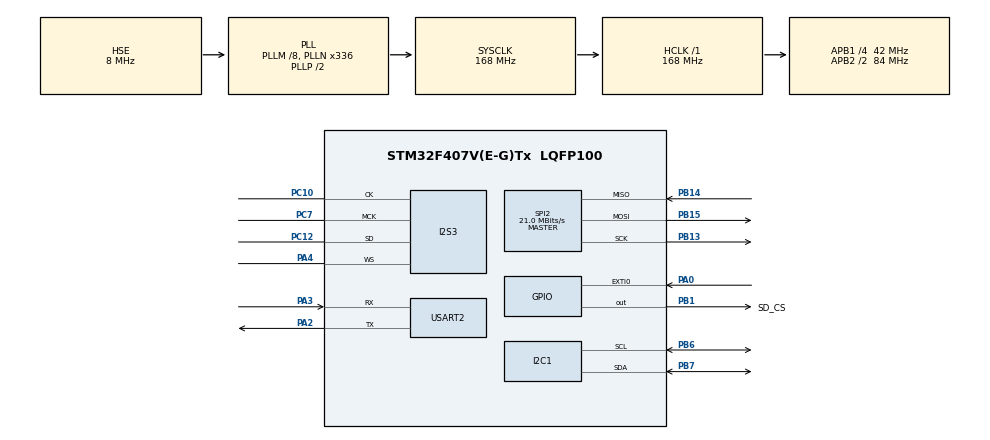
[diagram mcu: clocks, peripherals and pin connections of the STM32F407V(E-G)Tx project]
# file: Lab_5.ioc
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Dma.Request0=SPI3_TX
Dma.SPI3_TX.0.Direction=DMA_MEMORY_TO_PERIPH
Dma.SPI3_TX.0.FIFOMode=DMA_FIFOMODE_ENABLE
Dma.SPI3_TX.0.FIFOThreshold=DMA_FIFO_THRESHOLD_FULL
Dma.SPI3_TX.0.Instance=DMA1_Stream5
Dma.SPI3_TX.0.MemBurst=DMA_MBURST_SINGLE
Dma.SPI3_TX.0.MemDataAlignment=DMA_MDATAALIGN_HALFWORD
Dma.SPI3_TX.0.MemInc=DMA_MINC_ENABLE
Dma.SPI3_TX.0.Mode=DMA_CIRCULAR
Dma.SPI3_TX.0.PeriphBurst=DMA_PBURST_SINGLE
Dma.SPI3_TX.0.PeriphDataAlignment=DMA_PDATAALIGN_HALFWORD
Dma.SPI3_TX.0.PeriphInc=DMA_PINC_DISABLE
Dma.SPI3_TX.0.Priority=DMA_PRIORITY_LOW
I2S3.ErrorAudioFreq=-0.27 %
I2S3.FullDuplexMode=I2S_FULLDUPLEXMODE_DISABLE
I2S3.Instance=SPI$Index
I2S3.RealAudioFreq=7.978 KHz
I2S3.VirtualMode=I2S_MODE_MASTER
Mcu.Family=STM32F4
Mcu.Name=STM32F407V(E-G)Tx
Mcu.Package=LQFP100
NVIC.DMA1_Stream5_IRQn=true\:0\:0\:false\:false\:true\:false\:true\:true
NVIC.EXTI0_IRQn=true\:5\:0\:true\:false\:true\:true\:true\:true
NVIC.PriorityGroup=NVIC_PRIORITYGROUP_4
NVIC.TIM2_IRQn=true\:15\:0\:false\:false\:true\:false\:true\:true
NVIC.TimeBase=TIM2_IRQn
NVIC.TimeBaseIP=TIM2
PA0-WKUP.Signal=GPXTI0
PA2.Mode=Asynchronous
PA2.Signal=USART2_TX
PA3.Mode=Asynchronous
PA3.Signal=USART2_RX
PA4.Mode=Half_Duplex_Master
PA4.Signal=I2S3_WS
PB1.GPIO_Label=SD_CS
PB1.Signal=GPIO_Output
PB13.Mode=Full_Duplex_Master
PB13.Signal=SPI2_SCK
PB14.Mode=Full_Duplex_Master
PB14.Signal=SPI2_MISO
PB15.Mode=Full_Duplex_Master
PB15.Signal=SPI2_MOSI
PB6.Mode=I2C
PB6.Signal=I2C1_SCL
PB7.Mode=I2C
PB7.Signal=I2C1_SDA
PC10.Mode=Half_Duplex_Master
PC10.Signal=I2S3_CK
PC12.Mode=Half_Duplex_Master
PC12.Signal=I2S3_SD
PC7.Mode=Master_Clock_Activated
PC7.Signal=I2S3_MCK
PH0-OSC_IN.Mode=HSE-External-Oscillator
PH0-OSC_IN.Signal=RCC_OSC_IN
PH1-OSC_OUT.Mode=HSE-External-Oscillator
PH1-OSC_OUT.Signal=RCC_OSC_OUT
ProjectManager.HeapSize=0x200
ProjectManager.StackSize=0x400
ProjectManager.TargetToolchain=STM32CubeIDE
RCC.48MHZClocksFreq_Value=84000000
RCC.AHBFreq_Value=168000000
RCC.APB1CLKDivider=RCC_HCLK_DIV4
RCC.APB1Freq_Value=42000000
RCC.APB1TimFreq_Value=84000000
RCC.APB2CLKDivider=RCC_HCLK_DIV2
RCC.APB2Freq_Value=84000000
RCC.APB2TimFreq_Value=168000000
RCC.CortexFreq_Value=168000000
RCC.HCLKFreq_Value=168000000
RCC.HSE_VALUE=8000000
RCC.HSI_VALUE=16000000
RCC.LSE_VALUE=32768
RCC.PLLM=8
RCC.PLLN=336
RCC.PLLSourceVirtual=RCC_PLLSOURCE_HSE
RCC.SYSCLKFreq_VALUE=168000000
RCC.SYSCLKSource=RCC_SYSCLKSOURCE_PLLCLK
RCC.VCOOutputFreq_Value=336000000
SPI2.BaudRatePrescaler=SPI_BAUDRATEPRESCALER_2
SPI2.CalculateBaudRate=21.0 MBits/s
SPI2.Direction=SPI_DIRECTION_2LINES
SPI2.Mode=SPI_MODE_MASTER
SPI2.VirtualType=VM_MASTER
USART2.VirtualMode=VM_ASYNC
VP_FATFS_VS_Generic.Mode=User_defined
VP_SYS_VS_tim2.Mode=TIM2
board=custom

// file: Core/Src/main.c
/* USER CODE BEGIN Header */
/**
  ******************************************************************************
  * @file           : main.c
  * @brief          : Main program body
  ******************************************************************************
  * @attention
  *
  * Copyright (c) 2025 STMicroelectronics.
  * All rights reserved.
  *
  * This software is licensed under terms that can be found in the LICENSE file
  * in the root directory of this software component.
  * If no LICENSE file comes with this software, it is provided AS-IS.
  *
  ******************************************************************************
  */
/* USER CODE END Header */
#include "main.h"
#include "fatfs.h"

/* USER CODE BEGIN Includes */
#include "FreeRTOS.h"
#include "task.h"
#include "myprintf.h"
#include "string.h"
#include "waveplayer.h"
#include "File_Handling.h"
#include "semphr.h"
#include "queue.h"
#include "stdarg.h"
/* USER CODE END Includes */

/* USER CODE BEGIN PTD */
typedef enum {
	PLAYBACK_CONTROL,
	TRACK_SWITCHING,
	VOLUME_ADJUST
} SystemState;

typedef enum {
	NO_PRESS,
	SINGLE_PRESS,
	LONG_PRESS,
	DOUBLE_PRESS
} eButtonEvent;

typedef struct {
	char message[128];
} LogMessage;
/* USER CODE END PTD */

/* USER CODE BEGIN PD */
#define AUDIO_EXIT_NOTIFY	(1UL << 0)
#define AUDIO_EXITED_NOTIFY (1UL << 1)
/* USER CODE END PD */

I2C_HandleTypeDef hi2c1;

I2S_HandleTypeDef hi2s3;
DMA_HandleTypeDef hdma_spi3_tx;

SPI_HandleTypeDef hspi2;

UART_HandleTypeDef huart2;

/* USER CODE BEGIN PV */
extern AUDIO_PLAYBACK_StateTypeDef AudioState;
TaskHandle_t buttonTaskHandle;
bool initialized  = false;
SystemState currentState = PLAYBACK_CONTROL;
bool single_press = false;
SemaphoreHandle_t fatfsMutex;
QueueHandle_t logQueue;
/* USER CODE END PV */

void SystemClock_Config(void);
static void MX_GPIO_Init(void);
static void MX_DMA_Init(void);
static void MX_SPI2_Init(void);
static void MX_USART2_UART_Init(void);
static void MX_I2C1_Init(void);
static void MX_I2S3_Init(void);

/* USER CODE BEGIN 0 */
void LogOperation(const char *format, ...){
	LogMessage msg;
	va_list args;
	va_start(args, format);
	vsnprintf(msg.message, sizeof(msg.message), format, args);
	va_end(args);
	if (xQueueSend(logQueue, &msg, pdMS_TO_TICKS(100)) != pdPASS){
		myprintf("Failed to send log message!\r\n");
	}
}

void PrintLogFile(void) {
	FIL logFile;
	FRESULT fr;
	UINT br;
	char buffer[128];
	xSemaphoreTake(fatfsMutex, portMAX_DELAY);
	//Write your code here to open the log.txt file for read.
	fr = f_open(&logFile, "log.txt", FA_READ);

	if (fr != FR_OK) {
		myprintf("Failed to open log.txt (Error: %d)\r\n", fr);
		xSemaphoreGive(fatfsMutex);
		return;
	}
	myprintf("Log file contents:\r\n");
	do {
		//Write your code here to read the log.txt file.
		fr = f_read(&logFile, buffer, sizeof(buffer) - 1, &br);

		if (fr != FR_OK) {
			myprintf("Error reading log.txt (Error: %d)\r\n", fr);
			break;
		}
		buffer[br] = '\0';
		myprintf("%s", buffer);
	} while (br == sizeof(buffer) - 1);
	//Write your code here to close the log.txt file.
	f_close(&logFile);

	xSemaphoreGive(fatfsMutex);
}
void LogTask(void *pvParameters) {
	FIL logFile;
	FRESULT fr;
	UINT bw;
	LogMessage logMsg;
	bool fileOpened = false;

	xSemaphoreTake(fatfsMutex, portMAX_DELAY);
	//Write your code here to open and clear the log.txt file. If the file is not exists, create a new one.
	fr = f_open(&logFile, "log.txt", FA_CREATE_ALWAYS);

	if (fr == FR_OK) {
		//Write your code here to close the log.txt file.
		f_close(&logFile);

		myprintf("Log file cleared.\r\n");
	} else {
		myprintf("Failed to clear log file, error = %d\r\n", fr);
	}
	xSemaphoreGive(fatfsMutex);

	for(;;){
		if (xQueueReceive(logQueue, &logMsg, portMAX_DELAY) == pdPASS) {
			xSemaphoreTake(fatfsMutex, portMAX_DELAY);
			if(!fileOpened) {
				//Write your code here to open the log.txt file for write.
				fr = f_open(&logFile, "log.txt", FA_OPEN_APPEND | FA_WRITE);

				if (fr != FR_OK){
					myprintf("LogTask: Failed to open log.txt, error = %d\r\n", fr);
					xSemaphoreGive(fatfsMutex);
					continue;
				}
				fileOpened = true;
			}

			//Write your code here to write to the log.txt file.
			fr = f_write(&logFile, logMsg.message, strlen(logMsg.message), &bw);

			if (fr == FR_OK){
				f_sync(&logFile);
				myprintf("LogTask: Wrote log entry.\r\n");

				//Write your code here to close the log.txt file.
				f_close(&logFile);

				fileOpened = false;
				xSemaphoreGive(fatfsMutex);
				PrintLogFile();
			} else {
				myprintf("LogTask: f_write error: %d\r\n", fr);
				xSemaphoreGive(fatfsMutex);
			}
		}
	}
}

bool buttonState() {
   static const uint32_t DEBOUNCE_MILLIS = 50;
   static bool buttonstate = false;
   static uint32_t buttonstate_ts = 0;

   uint32_t now = HAL_GetTick();

   if (!initialized) {
       buttonstate = HAL_GPIO_ReadPin(GPIOA, GPIO_PIN_0) == GPIO_PIN_SET;
       buttonstate_ts = now;
       initialized = true;
   }

   if (now - buttonstate_ts > DEBOUNCE_MILLIS) {
       bool current_state = (HAL_GPIO_ReadPin(GPIOA, GPIO_PIN_0) == GPIO_PIN_SET);
       if (buttonstate != current_state) {
           buttonstate = current_state;
           buttonstate_ts = now;
       }
   }
   return buttonstate;
}

eButtonEvent getButtonEvent()
{
   static const uint32_t DOUBLE_GAP_MILLIS_MAX = 250;
   static const uint32_t LONG_MILLIS_MIN = 800;

   static uint32_t button_down_ts = 0;
   static uint32_t button_up_ts = 0;
   static bool double_pending = false;
   static bool long_press_pending = false;
   static bool button_down = false;
   static bool long_press_fired = false;

   static eButtonEvent pending_event = NO_PRESS;
   uint32_t now = HAL_GetTick();
   bool curDown = buttonState();

   /*write your code here*/
   /*Determine whether it's a single press, double press, or long press.*/
   if (curDown && !button_down) {
	   button_down = true;
	   button_down_ts = now;
	   long_press_pending = true;
   }

   if (!curDown && button_down) {
       button_down        = false;
       long_press_pending = false;

       if (!long_press_fired) {
           if (double_pending && (now - button_up_ts) <= DOUBLE_GAP_MILLIS_MAX) {
               /* 第二次放開且在間隔內 → Double Press */
               pending_event  = DOUBLE_PRESS;
               double_pending = false;
           } else {
               /* 第一次放開，等待看是否有第二次 */
               double_pending = true;
               button_up_ts   = now;
           }
       }
       long_press_fired = false;
   }

   if (curDown && long_press_pending && !long_press_fired) {
	   if ((now - button_down_ts) >= LONG_MILLIS_MIN) {
		   pending_event      = LONG_PRESS;
		   long_press_fired   = true;
		   long_press_pending = false;
		   double_pending     = false;
	   }
   }

   if (double_pending && !button_down && (now - button_up_ts) > DOUBLE_GAP_MILLIS_MAX) {
       pending_event  = SINGLE_PRESS;
       double_pending = false;
   }

   eButtonEvent event_to_return = pending_event;
   pending_event = NO_PRESS;
   return event_to_return;
}

void ButtonTask(void *pvParameters){
	while (1){
		xTaskNotifyWait(0, 0, NULL, pdMS_TO_TICKS(20));

		eButtonEvent event = getButtonEvent();
		if (event != NO_PRESS) {
			switch (currentState) {
				case PLAYBACK_CONTROL:
					if (event == SINGLE_PRESS) {
						myprintf("PLAYBACK_CONTROL: Single Press Detected. Toggling Play/Pause.\r\n");

						if (AudioState == AUDIO_STATE_PLAY){
							LogOperation("AUDIO_PAUSE\r\n");
							//Write your code here
							AudioState = AUDIO_STATE_PAUSE; // 短按一下暫停
						}
						if (AudioState == AUDIO_STATE_WAIT){
							LogOperation("AUDIO_RESUME\r\n");
							//Write your code here
							AudioState = AUDIO_STATE_RESUME; // 短按一下繼續撥放
						}
					}
					else if (event == DOUBLE_PRESS) {
						myprintf("PLAYBACK_CONTROL: Double Press Detected. Entering Track Switching Mode.\r\n");
						//Write your code here
						currentState = TRACK_SWITCHING; // 雙擊切換到換曲模式
					}
					else if (event == LONG_PRESS){
						myprintf("PLAYBACK_CONTROL: Long Press Detected. Entering Volume Adjust Mode.\r\n");
						//Write your code here
						currentState = VOLUME_ADJUST; // 長按切換到音量調節模式
					}
					break;
				case TRACK_SWITCHING:
					if (event == SINGLE_PRESS) {
						myprintf("TRACK_SWITCHING: Single Press Detected. Previous Track.\r\n");
						LogOperation("PREVIOUS_SONG\r\n");
						//Write your code here
						AudioState = AUDIO_STATE_PREVIOUS; // 短按切上一首
					}
					else if(event == DOUBLE_PRESS) {
						myprintf("TRACK_SWITCHING: Double Press Detected. Next Track.\r\n");
						LogOperation("NEXT_SONG\r\n");
						//Write your code here
						AudioState = AUDIO_STATE_NEXT; //雙擊切下一首
					}
					else if (event == LONG_PRESS){
						myprintf("TRACK_SWITCHING: Long Press Detected. Exiting Track Switching Mode.\r\n");
						//Write your code here
						currentState = PLAYBACK_CONTROL; // 長按切回撥放模式
					}
					break;
				case VOLUME_ADJUST:
					if(event == SINGLE_PRESS) {
						myprintf("VOLUME_ADJUST: Single Press Detected. Volume Down.\r\n");
						LogOperation("VOLUMN_DOWN\r\n");
						//Write your code here
						AudioState = AUDIO_STATE_VOLUME_DOWN; // 短按調低音量
					}
					else if(event == DOUBLE_PRESS) {
						myprintf("VOLUME_ADJUST: Double Press Detected. Volume Up.\r\n");
						LogOperation("VOLUMN_UP\r\n");
						//Write your code here
						AudioState = AUDIO_STATE_VOLUME_UP; // 長按調高音量
					}
					else if(event == LONG_PRESS){
						myprintf("VOLUME_ADJUST: Long Press Detected. Exiting Volume Adjust Mode.\r\n");
						//Write your code here
						currentState = PLAYBACK_CONTROL; // 長按切回撥放模式
					}
					break;
				default:
					break;
			}
		}
		vTaskDelay(pdMS_TO_TICKS(10));
	}
}

void AudioPlayerTask(void *pvParameters){
	int IsFinished = 0;
	xSemaphoreTake(fatfsMutex, portMAX_DELAY);
	AUDIO_PLAYER_Start(0);
	xSemaphoreGive(fatfsMutex);
	while (!IsFinished){
		xSemaphoreTake(fatfsMutex, portMAX_DELAY);
		AUDIO_PLAYER_Process(true);
		xSemaphoreGive(fatfsMutex);

		if (AudioState == AUDIO_STATE_STOP)
		{
			IsFinished = 1;
		}
		vTaskDelay(pdMS_TO_TICKS(10));
	}
}

void HAL_GPIO_EXTI_Callback(uint16_t GPIO_Pin) {
	if (GPIO_Pin == GPIO_PIN_0){
		BaseType_t xHigherPriorityTaskWoken = pdFALSE;
		vTaskNotifyGiveFromISR(buttonTaskHandle, &xHigherPriorityTaskWoken);
		portYIELD_FROM_ISR(xHigherPriorityTaskWoken);
	}
}
/* USER CODE END 0 */

int main(void)
{

  /* MCU Configuration--------------------------------------------------------*/

  /* Reset of all peripherals, Initializes the Flash interface and the Systick. */
  HAL_Init();

  /* Configure the system clock */
  SystemClock_Config();

  /* Initialize all configured peripherals */
  MX_GPIO_Init();
  MX_DMA_Init();
  MX_SPI2_Init();
  MX_USART2_UART_Init();
  MX_FATFS_Init();
  MX_I2C1_Init();
  MX_I2S3_Init();
  /* USER CODE BEGIN 2 */
  Mount_SD();
  fatfsMutex = xSemaphoreCreateMutex();
  if (fatfsMutex == NULL){
  	myprintf("Failed to create fatfsMutex!\r\n");
  }
  logQueue = xQueueCreate(10, sizeof(LogMessage));
  if (logQueue == NULL){
  	myprintf("Failed to create logQueue!\r\n");
  }

  xTaskCreate(LogTask, "LogTask", 512, NULL, 3, NULL);
  xTaskCreate(ButtonTask, "ButtonTask", 256, NULL, 2, &buttonTaskHandle);
  xTaskCreate(AudioPlayerTask, "AudioPlayerTask", 512, NULL, 3, NULL);
  vTaskStartScheduler();
  /* USER CODE END 2 */

  /* Infinite loop */
  while (1)
  {

  }
}

void SystemClock_Config(void)
{
  RCC_OscInitTypeDef RCC_OscInitStruct = {0};
  RCC_ClkInitTypeDef RCC_ClkInitStruct = {0};

  /** Configure the main internal regulator output voltage
  */
  __HAL_RCC_PWR_CLK_ENABLE();
  __HAL_PWR_VOLTAGESCALING_CONFIG(PWR_REGULATOR_VOLTAGE_SCALE1);

  /** Initializes the RCC Oscillators according to the specified parameters
  * in the RCC_OscInitTypeDef structure.
  */
  RCC_OscInitStruct.OscillatorType = RCC_OSCILLATORTYPE_HSE;
  RCC_OscInitStruct.HSEState = RCC_HSE_ON;
  RCC_OscInitStruct.PLL.PLLState = RCC_PLL_ON;
  RCC_OscInitStruct.PLL.PLLSource = RCC_PLLSOURCE_HSE;
  RCC_OscInitStruct.PLL.PLLM = 8;
  RCC_OscInitStruct.PLL.PLLN = 336;
  RCC_OscInitStruct.PLL.PLLP = RCC_PLLP_DIV2;
  RCC_OscInitStruct.PLL.PLLQ = 4;
  if (HAL_RCC_OscConfig(&RCC_OscInitStruct) != HAL_OK)
  {
    Error_Handler();
  }

  /** Initializes the CPU, AHB and APB buses clocks
  */
  RCC_ClkInitStruct.ClockType = RCC_CLOCKTYPE_HCLK|RCC_CLOCKTYPE_SYSCLK
                              |RCC_CLOCKTYPE_PCLK1|RCC_CLOCKTYPE_PCLK2;
  RCC_ClkInitStruct.SYSCLKSource = RCC_SYSCLKSOURCE_PLLCLK;
  RCC_ClkInitStruct.AHBCLKDivider = RCC_SYSCLK_DIV1;
  RCC_ClkInitStruct.APB1CLKDivider = RCC_HCLK_DIV4;
  RCC_ClkInitStruct.APB2CLKDivider = RCC_HCLK_DIV2;

  if (HAL_RCC_ClockConfig(&RCC_ClkInitStruct, FLASH_LATENCY_5) != HAL_OK)
  {
    Error_Handler();
  }
}

static void MX_I2C1_Init(void)
{

  hi2c1.Instance = I2C1;
  hi2c1.Init.ClockSpeed = 100000;
  hi2c1.Init.DutyCycle = I2C_DUTYCYCLE_2;
  hi2c1.Init.OwnAddress1 = 0;
  hi2c1.Init.AddressingMode = I2C_ADDRESSINGMODE_7BIT;
  hi2c1.Init.DualAddressMode = I2C_DUALADDRESS_DISABLE;
  hi2c1.Init.OwnAddress2 = 0;
  hi2c1.Init.GeneralCallMode = I2C_GENERALCALL_DISABLE;
  hi2c1.Init.NoStretchMode = I2C_NOSTRETCH_DISABLE;
  if (HAL_I2C_Init(&hi2c1) != HAL_OK)
  {
    Error_Handler();
  }

}

static void MX_I2S3_Init(void)
{

  hi2s3.Instance = SPI3;
  hi2s3.Init.Mode = I2S_MODE_MASTER_TX;
  hi2s3.Init.Standard = I2S_STANDARD_PHILIPS;
  hi2s3.Init.DataFormat = I2S_DATAFORMAT_16B;
  hi2s3.Init.MCLKOutput = I2S_MCLKOUTPUT_ENABLE;
  hi2s3.Init.AudioFreq = I2S_AUDIOFREQ_8K;
  hi2s3.Init.CPOL = I2S_CPOL_LOW;
  hi2s3.Init.ClockSource = I2S_CLOCK_PLL;
  hi2s3.Init.FullDuplexMode = I2S_FULLDUPLEXMODE_DISABLE;
  if (HAL_I2S_Init(&hi2s3) != HAL_OK)
  {
    Error_Handler();
  }

}

static void MX_SPI2_Init(void)
{

  /* SPI2 parameter configuration*/
  hspi2.Instance = SPI2;
  hspi2.Init.Mode = SPI_MODE_MASTER;
  hspi2.Init.Direction = SPI_DIRECTION_2LINES;
  hspi2.Init.DataSize = SPI_DATASIZE_8BIT;
  hspi2.Init.CLKPolarity = SPI_POLARITY_LOW;
  hspi2.Init.CLKPhase = SPI_PHASE_1EDGE;
  hspi2.Init.NSS = SPI_NSS_SOFT;
  hspi2.Init.BaudRatePrescaler = SPI_BAUDRATEPRESCALER_2;
  hspi2.Init.FirstBit = SPI_FIRSTBIT_MSB;
  hspi2.Init.TIMode = SPI_TIMODE_DISABLE;
  hspi2.Init.CRCCalculation = SPI_CRCCALCULATION_DISABLE;
  hspi2.Init.CRCPolynomial = 10;
  if (HAL_SPI_Init(&hspi2) != HAL_OK)
  {
    Error_Handler();
  }

}

static void MX_USART2_UART_Init(void)
{

  huart2.Instance = USART2;
  huart2.Init.BaudRate = 115200;
  huart2.Init.WordLength = UART_WORDLENGTH_8B;
  huart2.Init.StopBits = UART_STOPBITS_1;
  huart2.Init.Parity = UART_PARITY_NONE;
  huart2.Init.Mode = UART_MODE_TX_RX;
  huart2.Init.HwFlowCtl = UART_HWCONTROL_NONE;
  huart2.Init.OverSampling = UART_OVERSAMPLING_16;
  if (HAL_UART_Init(&huart2) != HAL_OK)
  {
    Error_Handler();
  }

}

static void MX_DMA_Init(void)
{

  /* DMA controller clock enable */
  __HAL_RCC_DMA1_CLK_ENABLE();

  /* DMA interrupt init */
  /* DMA1_Stream5_IRQn interrupt configuration */
  HAL_NVIC_SetPriority(DMA1_Stream5_IRQn, 0, 0);
  HAL_NVIC_EnableIRQ(DMA1_Stream5_IRQn);

}

static void MX_GPIO_Init(void)
{
  GPIO_InitTypeDef GPIO_InitStruct = {0};

  /* GPIO Ports Clock Enable */
  __HAL_RCC_GPIOH_CLK_ENABLE();
  __HAL_RCC_GPIOA_CLK_ENABLE();
  __HAL_RCC_GPIOB_CLK_ENABLE();
  __HAL_RCC_GPIOC_CLK_ENABLE();

  /*Configure GPIO pin Output Level */
  HAL_GPIO_WritePin(SD_CS_GPIO_Port, SD_CS_Pin, GPIO_PIN_RESET);

  /*Configure GPIO pin : PA0 */
  GPIO_InitStruct.Pin = GPIO_PIN_0;
  GPIO_InitStruct.Mode = GPIO_MODE_IT_RISING;
  GPIO_InitStruct.Pull = GPIO_NOPULL;
  HAL_GPIO_Init(GPIOA, &GPIO_InitStruct);

  /*Configure GPIO pin : SD_CS_Pin */
  GPIO_InitStruct.Pin = SD_CS_Pin;
  GPIO_InitStruct.Mode = GPIO_MODE_OUTPUT_PP;
  GPIO_InitStruct.Pull = GPIO_NOPULL;
  GPIO_InitStruct.Speed = GPIO_SPEED_FREQ_LOW;
  HAL_GPIO_Init(SD_CS_GPIO_Port, &GPIO_InitStruct);

  /* EXTI interrupt init*/
  HAL_NVIC_SetPriority(EXTI0_IRQn, 5, 0);
  HAL_NVIC_EnableIRQ(EXTI0_IRQn);

}

void HAL_TIM_PeriodElapsedCallback(TIM_HandleTypeDef *htim)
{
  if (htim->Instance == TIM2) {
    HAL_IncTick();
  }
}

void Error_Handler(void)
{
  __disable_irq();
  while (1)
  {
  }
}
